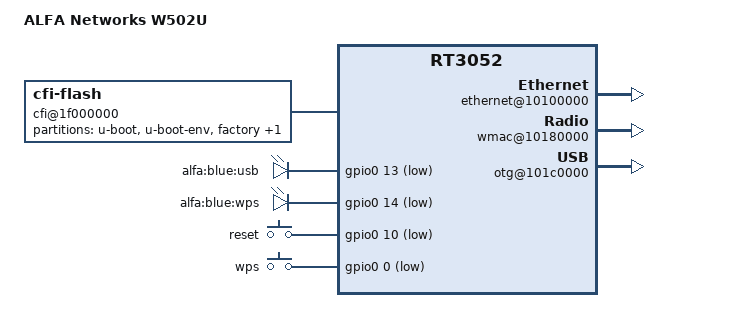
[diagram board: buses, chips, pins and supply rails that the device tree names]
/dts-v1/;

/include/ "rt3050.dtsi"

/ {
	compatible = "W502U", "ralink,rt3052-soc";
	model = "ALFA Networks W502U";

	chosen {
		bootargs = "console=ttyS0,115200";
	};

	palmbus@10000000 {
		sysc@0 {
			ralink,pinmux = "i2c", "spi", "uartlite", "jtag", "mdio", "sdram", "rgmii";
			ralink,uartmux = "gpio";
			ralink,wdtmux = <1>;
		};

		gpio0: gpio@600 {
			status = "okay";
		};
	};

	cfi@1f000000 {
		compatible = "cfi-flash";
		reg = <0x1f000000 0x800000>;

		bank-width = <2>;
		device-width = <2>;
		#address-cells = <1>;
		#size-cells = <1>;

		partition@0 {
			label = "u-boot";
			reg = <0x0 0x30000>;
			read-only;
		};

		partition@30000 {
			label = "u-boot-env";
			reg = <0x30000 0x10000>;
			read-only;
		};

		factory: partition@40000 {
			label = "factory";
			reg = <0x40000 0x10000>;
			read-only;
		};

		partition@50000 {
			label = "firmware";
			reg = <0x50000 0x7b0000>;
		};
	};

	ethernet@10100000 {
		status = "okay";
	};

	esw@10110000 {
		status = "okay";
		ralink,portmap = <0x3e>;
	};

	gpio-leds {
		compatible = "gpio-leds";
		usb {
			label = "alfa:blue:usb";
			gpios = <&gpio0 13 1>;
		};
		wps {
			label = "alfa:blue:wps";
			gpios = <&gpio0 14 1>;
		};
	};

	gpio-keys-polled {
		compatible = "gpio-keys-polled";
		#address-cells = <1>;
		#size-cells = <0>;
		poll-interval = <20>;
		reset {
			label = "reset";
			gpios = <&gpio0 10 1>;
			linux,code = <0x198>;
		};
		wps {
			label = "wps";
			gpios = <&gpio0 0 1>;
			linux,code = <0x211>;
		};
	};

	wmac@10180000 {
		status = "okay";
	};

	otg@101c0000 {
		status = "okay";
	};
};
